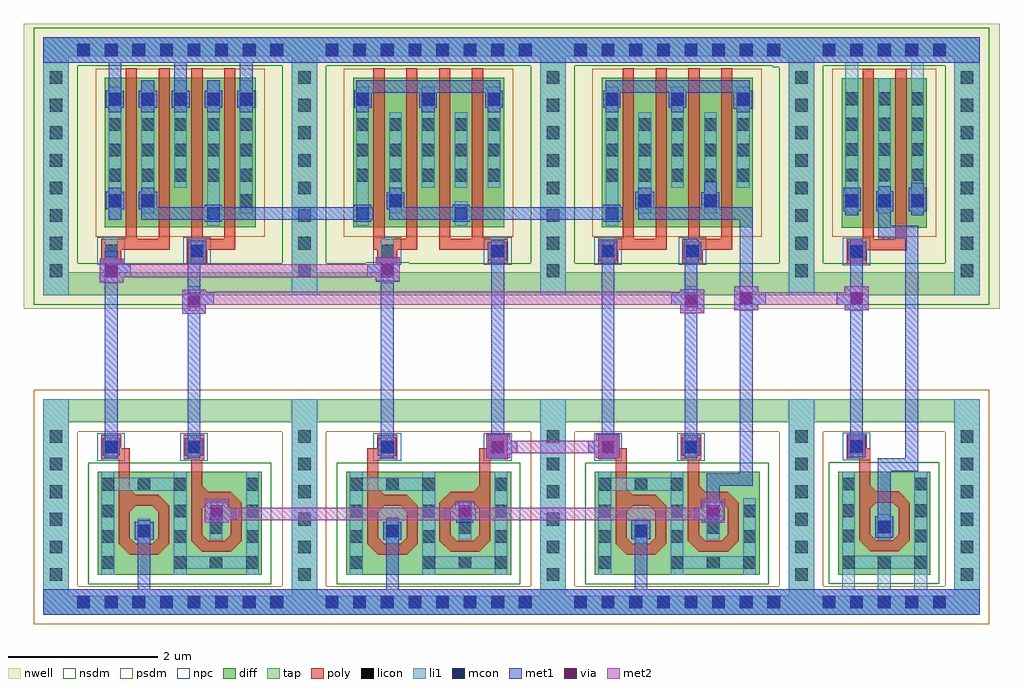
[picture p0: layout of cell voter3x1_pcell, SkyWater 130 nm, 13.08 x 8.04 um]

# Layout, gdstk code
from math import pi, radians
import gdstk
lib = gdstk.Library(unit=1e-6, precision=1e-09)
def R(c, l, rs):  # rectangles x0, y0, x1, y1
    for r in rs: c.add(gdstk.rectangle(r[:2], r[2:], *l))
def A(c, l, x, y, w, h, nx, ny, dx, dy):  # array of equal rectangles
    R(c, l, [(x+i*dx, y+j*dy, x+i*dx+w, y+j*dy+h) for i in range(nx) for j in range(ny)])
def P(c, l, *ps):  # polygons
    for p in ps: c.add(gdstk.Polygon(p, *l))
nwell = (64, 20)
diff = (65, 20)
tap = (65, 44)
poly = (66, 20)
licon = (66, 44)
li1 = (67, 20)
mcon = (67, 44)
met1 = (68, 20)
via = (68, 44)
met2 = (69, 20)
nsdm = (93, 44)
psdm = (94, 20)
npc = (95, 20)

diff_ring_side = lib.new_cell('diff_ring_side')
R(diff_ring_side, nwell, [(-0.435,3.93,0.435,7.75)])
R(diff_ring_side, tap, [(-0.17,-0.17,0.17,2.72), (-0.17,4.11,0.17,7.57)])
A(diff_ring_side, licon, -0.085, 0.285, 0.17, 0.17, 1, 6, 0, 0.37)
A(diff_ring_side, licon, -0.085, 4.355, 0.17, 0.17, 1, 8, 0, 0.37)
R(diff_ring_side, li1, [(-0.17,-0.17,0.17,2.72), (-0.17,4.11,0.17,7.57)])
R(diff_ring_side, met1, [(-0.17,-0.17,0.17,0.17), (-0.17,7.23,0.17,7.57)])
R(diff_ring_side, nsdm, [(-0.295,3.985,0.295,7.695)])
R(diff_ring_side, psdm, [(-0.295,-0.295,0.295,2.845)])

li1_m1_contact = lib.new_cell('li1_M1_contact')
R(li1_m1_contact, li1, [(-0.085,-0.165,0.085,0.165)])
R(li1_m1_contact, mcon, [(-0.085,-0.085,0.085,0.085)])
R(li1_m1_contact, met1, [(-0.115,-0.115,0.115,-0.085), (-0.265,-0.085,0.145,0.085), (-0.115,0.085,0.115,0.115)])

nmos_bottom = lib.new_cell('nmos_bottom')
R(nmos_bottom, diff, [(0,0,1.24,1.38)])
R(nmos_bottom, poly, [(0.43,0.27,0.81,0.42), (0.28,0.42,0.43,0.925), (0.81,0.42,0.96,0.925), (0.43,0.925,0.96,1.075), (0.81,1.075,0.96,1.51)])
P(nmos_bottom, poly, [(0.73,1.075),(0.81,1.075),(0.81,1.155)],
  [(0.28,0.925),(0.43,0.925),(0.43,1.075)],
  [(0.43,0.845),(0.43,0.925),(0.51,0.925)],
  [(0.73,0.925),(0.81,0.925),(0.81,0.845)],
  [(0.43,0.5),(0.43,0.42),(0.51,0.42)],
  [(0.73,0.42),(0.81,0.42),(0.81,0.5)],
  [(0.28,0.42),(0.43,0.42),(0.43,0.27)],
  [(0.81,0.27),(0.81,0.42),(0.96,0.42)])
A(nmos_bottom, licon, 0.05, 1.13, 0.17, 0.17, 3, 1, 0.485, 0)
R(nmos_bottom, licon, [(0.05,0.08,0.22,0.25), (1.02,0.08,1.19,0.25), (0.05,0.43,0.22,0.6), (1.02,0.43,1.19,0.6), (0.535,0.505,0.705,0.675), (0.05,0.77,0.22,0.94), (1.02,0.77,1.19,0.94)])
R(nmos_bottom, li1, [(0.05,0,0.22,1.13), (1.02,0,1.19,1.13), (0.535,0.425,0.705,0.755), (0.05,1.13,1.19,1.3), (0.05,1.3,0.22,1.38), (1.02,1.3,1.19,1.38)])
R(nmos_bottom, nsdm, [(-0.125,-0.125,1.365,1.505)])

pmos2_1 = lib.new_cell('pmos2_1')
R(pmos2_1, nwell, [(0.26,-2.175,1.76,0.185)])
R(pmos2_1, diff, [(0.44,-1.995,1.58,0.005)])
R(pmos2_1, poly, [(0.72,-2.3,1.31,-2.15), (0.72,-2.15,0.87,0.135), (1.16,-2.15,1.31,0.135)])
A(pmos2_1, licon, 0.49, -1.385, 0.17, 0.17, 3, 3, 0.44, 0.34)
A(pmos2_1, li1, 0.49, -1.465, 0.17, 1.01, 3, 1, 0.44, 0)
R(pmos2_1, psdm, [(0.315,-2.12,1.705,0.13)])

poly_li1_contact = lib.new_cell('poly_li1_contact')
R(poly_li1_contact, poly, [(-0.16,-0.14,0.17,0.13)])
R(poly_li1_contact, licon, [(-0.08,-0.09,0.09,0.08)])
R(poly_li1_contact, li1, [(-0.16,-0.09,0.17,0.08)])
R(poly_li1_contact, npc, [(-0.18,-0.19,0.19,0.18)])

nmos_top = lib.new_cell('nmos_top')
R(nmos_top, diff, [(0,0,1.23,1.38)])
R(nmos_top, poly, [(0.42,0.31,0.8,0.46), (0.27,0.46,0.42,0.965), (0.8,0.46,0.95,0.965), (0.42,0.965,0.95,1.115), (0.8,1.115,0.95,1.54)])
P(nmos_top, poly, [(0.72,1.115),(0.8,1.115),(0.8,1.195)],
  [(0.27,0.965),(0.42,0.965),(0.42,1.115)],
  [(0.42,0.885),(0.42,0.965),(0.5,0.965)],
  [(0.72,0.965),(0.8,0.965),(0.8,0.885)],
  [(0.42,0.54),(0.42,0.46),(0.5,0.46)],
  [(0.72,0.46),(0.8,0.46),(0.8,0.54)],
  [(0.27,0.46),(0.42,0.46),(0.42,0.31)],
  [(0.8,0.31),(0.8,0.46),(0.95,0.46)])
R(nmos_top, licon, [(0.04,0.08,0.21,0.25), (0.53,0.08,0.7,0.25), (1.01,0.08,1.18,0.25), (0.04,0.43,0.21,0.6), (1.01,0.43,1.18,0.6), (0.53,0.55,0.7,0.72), (0.04,0.77,0.21,0.94), (1.01,0.77,1.18,0.94), (0.04,1.13,0.21,1.3), (1.01,1.13,1.18,1.3)])
R(nmos_top, li1, [(0.04,0,0.21,0.08), (1.01,0,1.18,0.08), (0.04,0.08,1.18,0.25), (0.04,0.25,0.21,1.38), (1.01,0.25,1.18,1.38), (0.53,0.47,0.7,0.805)])
R(nmos_top, nsdm, [(-0.125,-0.125,1.355,1.505)])

nmos_top_trim1 = lib.new_cell('nmos_top_trim1')
R(nmos_top_trim1, diff, [(0,0,1.24,1.38)])
R(nmos_top_trim1, poly, [(0.43,0.31,0.81,0.46), (0.28,0.46,0.43,0.965), (0.81,0.46,0.96,0.965), (0.43,0.965,0.96,1.115), (0.81,1.115,0.96,1.545)])
P(nmos_top_trim1, poly, [(0.73,1.115),(0.81,1.115),(0.81,1.195)],
  [(0.28,0.965),(0.43,0.965),(0.43,1.115)],
  [(0.43,0.885),(0.43,0.965),(0.51,0.965)],
  [(0.73,0.965),(0.81,0.965),(0.81,0.885)],
  [(0.43,0.54),(0.43,0.46),(0.51,0.46)],
  [(0.73,0.46),(0.81,0.46),(0.81,0.54)],
  [(0.28,0.46),(0.43,0.46),(0.43,0.31)],
  [(0.81,0.31),(0.81,0.46),(0.96,0.46)])
A(nmos_top_trim1, licon, 0.05, 0.08, 0.17, 0.17, 3, 1, 0.485, 0)
R(nmos_top_trim1, licon, [(0.05,0.43,0.22,0.6), (1.02,0.43,1.19,0.6), (0.535,0.55,0.705,0.72), (0.05,0.77,0.22,0.94), (1.02,0.77,1.19,0.94), (1.02,1.13,1.19,1.3)])
R(nmos_top_trim1, li1, [(0.05,0,0.22,0.08), (1.02,0,1.19,0.08), (0.05,0.08,1.19,0.25), (0.05,0.25,0.22,1.02), (1.02,0.25,1.19,1.38), (0.535,0.47,0.705,0.805)])
R(nmos_top_trim1, nsdm, [(-0.125,-0.125,1.365,1.505)])

nmos_top_trim2 = lib.new_cell('nmos_top_trim2')
R(nmos_top_trim2, diff, [(0,0,1.24,1.38)])
R(nmos_top_trim2, poly, [(0.43,0.31,0.81,0.46), (0.28,0.46,0.43,0.89), (0.81,0.46,0.96,0.89), (0.28,0.89,0.435,0.965), (0.805,0.89,0.96,0.965), (0.43,0.965,0.96,1.115), (0.81,1.115,0.96,1.545)])
P(nmos_top_trim2, poly, [(0.73,1.115),(0.81,1.115),(0.81,1.195)],
  [(0.28,0.965),(0.43,0.965),(0.43,1.115)],
  [(0.435,0.89),(0.435,0.965),(0.51,0.965)],
  [(0.73,0.965),(0.805,0.965),(0.805,0.89)],
  [(0.43,0.54),(0.43,0.46),(0.51,0.46)],
  [(0.73,0.46),(0.81,0.46),(0.81,0.54)],
  [(0.28,0.46),(0.43,0.46),(0.43,0.31)],
  [(0.81,0.31),(0.81,0.46),(0.96,0.46)])
A(nmos_top_trim2, licon, 0.05, 0.08, 0.17, 0.17, 3, 1, 0.485, 0)
R(nmos_top_trim2, licon, [(0.05,0.43,0.22,0.6), (1.02,0.43,1.19,0.6), (0.535,0.55,0.705,0.72), (0.05,0.77,0.22,0.94), (1.02,0.77,1.19,0.94)])
R(nmos_top_trim2, li1, [(0.05,0,0.22,0.08), (1.02,0,1.19,0.08), (0.05,0.08,1.19,0.25), (0.05,0.25,0.22,1.025), (1.02,0.25,1.19,1.025), (0.535,0.47,0.705,0.805)])
R(nmos_top_trim2, nsdm, [(-0.125,-0.125,1.365,1.505)])

votern3x1_pcell = lib.new_cell('votern3x1_pcell')
A(votern3x1_pcell, nwell, 0.435, 7.645, 2.46, 0.105, 3, 1, 3.33, 0)
R(votern3x1_pcell, nwell, [(0.42,3.93,2.91,7.23), (3.75,3.93,6.24,7.28), (7.08,3.93,9.57,7.275), (0.17,7.23,2.91,7.28), (7.08,7.275,9.56,7.315), (0.17,7.28,2.9,7.515), (3.75,7.28,6.23,7.3), (3.76,7.3,6.23,7.52), (7.09,7.315,9.56,7.51), (7.09,7.51,9.57,7.525), (0.17,7.515,2.91,7.54), (3.75,7.52,6.24,7.645), (7.08,7.525,9.57,7.645), (0.42,7.54,2.91,7.645)])
A(votern3x1_pcell, diff, 0.705, 6.655, 0.17, 0.17, 5, 1, 0.44, 0)
A(votern3x1_pcell, diff, 4.025, 6.655, 0.17, 0.17, 3, 1, 0.88, 0)
A(votern3x1_pcell, diff, 7.365, 6.655, 0.17, 0.17, 3, 1, 0.88, 0)
R(votern3x1_pcell, diff, [(0.705,5.295,0.875,5.465), (1.145,5.295,1.315,5.465), (2.465,5.295,2.635,5.465), (4.465,5.295,4.635,5.465), (7.805,5.295,7.975,5.465), (8.685,5.295,8.855,5.465)])
A(votern3x1_pcell, tap, 0.17, -0.17, 2.99, 0.255, 3, 2, 3.33, 7.485)
A(votern3x1_pcell, tap, 0.17, 2.41, 2.99, 0.31, 3, 1, 3.33, 0)
R(votern3x1_pcell, tap, [(0.17,4.11,3.175,4.42), (3.485,4.11,6.505,4.42), (6.815,4.11,9.82,4.42), (4.285,4.42,4.605,4.43), (9.73,7.295,9.82,7.315)])
A(votern3x1_pcell, poly, 0.84, 1.875, 0.15, 0.19, 3, 1, 3.33, 0)
R(votern3x1_pcell, poly, [(1.81,1.905,1.96,1.915), (5.67,1.91,5.82,2.065), (8.47,1.91,8.62,1.915), (0.875,4.72,0.935,4.87), (5.725,4.72,5.785,4.87), (7.535,4.72,7.595,4.87)])
A(votern3x1_pcell, licon, 0.285, -0.085, 0.17, 0.17, 8, 2, 0.37, 7.4)
A(votern3x1_pcell, licon, 3.615, -0.085, 0.17, 0.17, 8, 2, 0.37, 7.4)
A(votern3x1_pcell, licon, 6.945, -0.085, 0.17, 0.17, 8, 2, 0.37, 7.4)
A(votern3x1_pcell, licon, 0.705, 6.655, 0.17, 0.17, 5, 1, 0.44, 0)
A(votern3x1_pcell, licon, 4.025, 6.655, 0.17, 0.17, 3, 1, 0.88, 0)
A(votern3x1_pcell, licon, 7.365, 6.655, 0.17, 0.17, 3, 1, 0.88, 0)
R(votern3x1_pcell, licon, [(0.705,5.295,0.875,5.465), (1.145,5.295,1.315,5.465), (2.465,5.295,2.635,5.465), (4.465,5.295,4.635,5.465), (7.805,5.295,7.975,5.465), (8.685,5.295,8.855,5.465)])
A(votern3x1_pcell, li1, 1.095, 0.87, 0.17, 0.17, 3, 1, 3.33, 0)
A(votern3x1_pcell, li1, 4.025, 6.485, 0.17, 0.42, 3, 1, 0.88, 0)
A(votern3x1_pcell, li1, 1.145, 6.555, 0.17, 0.44, 4, 1, 0.44, 0)
R(votern3x1_pcell, li1, [(0.165,-0.17,9.935,0.17), (0.655,1.995,0.825,2.165), (1.765,1.995,1.935,2.165), (4.355,1.995,4.525,2.165), (8.425,1.995,8.595,2.165), (1.805,4.62,1.975,4.79), (5.835,4.62,6.005,4.79), (7.315,4.62,7.485,4.79), (8.445,4.62,8.615,4.79), (0.705,5.125,0.875,5.615), (1.145,5.215,1.315,5.61), (2.465,5.215,2.635,5.7), (4.465,5.215,4.635,5.64), (7.805,5.215,7.975,5.59), (8.685,5.215,8.855,5.61), (2.025,5.36,2.195,5.595), (4.025,5.37,4.195,5.635), (7.365,5.37,7.535,5.575), (8.245,6.515,8.415,6.905), (9.125,6.53,9.295,6.905), (0.705,6.56,0.875,6.905), (7.365,6.56,7.535,6.905), (0.17,7.23,9.83,7.57)])
A(votern3x1_pcell, mcon, 0.285, -0.085, 0.17, 0.17, 8, 2, 0.37, 7.4)
A(votern3x1_pcell, mcon, 3.615, -0.085, 0.17, 0.17, 8, 2, 0.37, 7.4)
A(votern3x1_pcell, mcon, 6.945, -0.085, 0.17, 0.17, 8, 2, 0.37, 7.4)
A(votern3x1_pcell, mcon, 1.095, 0.87, 0.17, 0.17, 3, 1, 3.33, 0)
A(votern3x1_pcell, mcon, 0.705, 6.655, 0.17, 0.17, 5, 1, 0.44, 0)
A(votern3x1_pcell, mcon, 4.025, 6.655, 0.17, 0.17, 3, 1, 0.88, 0)
A(votern3x1_pcell, mcon, 7.365, 6.655, 0.17, 0.17, 3, 1, 0.88, 0)
R(votern3x1_pcell, mcon, [(0.655,1.995,0.825,2.165), (1.765,1.995,1.935,2.165), (4.355,1.995,4.525,2.165), (8.425,1.995,8.595,2.165), (1.805,4.62,1.975,4.79), (5.835,4.62,6.005,4.79), (7.315,4.62,7.485,4.79), (8.445,4.62,8.615,4.79), (0.705,5.295,0.875,5.465), (1.145,5.295,1.315,5.465), (4.465,5.295,4.635,5.465), (7.805,5.295,7.975,5.465), (8.685,5.295,8.855,5.465)])
A(votern3x1_pcell, met1, 0.17, -0.17, 2.99, 0.34, 3, 2, 3.33, 7.4)
A(votern3x1_pcell, met1, 0.705, 6.565, 0.17, 0.06, 5, 1, 0.44, 0)
A(votern3x1_pcell, met1, 4.025, 6.565, 0.17, 0.06, 3, 1, 0.88, 0)
A(votern3x1_pcell, met1, 0.705, 6.855, 0.17, 0.375, 3, 1, 0.88, 0)
R(votern3x1_pcell, met1, [(1.095,0.17,1.265,0.835), (4.425,0.17,4.595,0.835), (7.755,0.17,7.925,0.84), (1.055,0.835,1.31,1.08), (4.385,0.835,4.63,1.075), (7.71,0.84,7.965,1.095), (1.995,1.065,2.315,1.385), (4.425,1.075,4.595,1.13), (1.095,1.08,1.265,1.1), (5.35,1.095,5.61,1.355), (7.755,1.095,7.925,1.1), (8.645,1.095,8.935,1.265), (8.675,1.265,8.935,1.355), (8.725,1.355,8.895,1.56), (8.725,1.56,9.335,1.73), (9.165,1.73,9.335,5.125), (5.765,1.93,6.085,2.25), (7.235,1.93,7.555,2.25), (0.655,1.935,0.825,1.965), (1.765,1.935,1.935,1.965), (4.355,1.935,4.525,1.965), (8.425,1.935,8.595,1.96), (8.395,1.96,8.625,2.2), (0.625,1.965,0.855,2.195), (1.735,1.965,1.965,2.195), (4.315,1.965,4.56,2.205), (0.655,2.195,0.825,4.28), (1.765,2.195,1.935,3.865), (8.425,2.2,8.595,3.87), (4.355,2.205,4.525,4.295), (5.835,2.25,6.005,4.58), (7.315,2.25,7.485,4.575), (1.69,3.865,2.01,4.185), (8.365,3.87,8.685,4.19), (1.765,4.185,1.935,4.53), (8.425,4.19,8.595,4.56), (0.585,4.28,0.905,4.6), (4.285,4.295,4.605,4.615), (1.765,4.53,2.015,4.84), (8.425,4.56,8.615,4.59), (7.27,4.575,7.525,4.84), (5.79,4.58,6.05,4.825), (8.415,4.59,8.645,4.82), (0.655,4.6,0.825,4.71), (8.425,4.82,8.615,4.85), (5.835,4.825,6.005,4.85), (1.805,4.84,1.975,4.85), (7.315,4.84,7.485,4.85), (8.425,4.85,8.595,4.87), (4.025,5.115,4.195,5.27), (0.705,5.125,0.875,5.265), (1.145,5.125,2.025,5.265), (2.375,5.125,3.995,5.295), (4.465,5.125,5.515,5.265), (5.675,5.125,7.33,5.295), (7.365,5.125,7.535,5.19), (7.805,5.125,9.335,5.265), (0.67,5.265,0.915,5.5), (1.11,5.265,2.025,5.295), (4.435,5.265,5.515,5.295), (7.765,5.265,9.335,5.295), (1.11,5.295,1.355,5.5), (4.435,5.295,4.665,5.495), (7.765,5.295,8.015,5.5), (8.645,5.295,8.89,5.495), (4.465,5.495,4.635,5.555), (8.685,5.495,8.855,5.635), (0.705,5.5,0.875,5.555), (1.145,5.5,1.315,5.555), (7.805,5.5,7.975,5.555), (7.365,6.565,7.535,6.625), (8.245,6.565,8.415,6.625), (9.125,6.565,9.295,6.615), (9.08,6.615,9.33,6.825), (0.665,6.625,0.91,6.855), (1.11,6.625,1.355,6.855), (1.555,6.625,1.795,6.855), (1.995,6.625,2.23,6.855), (2.43,6.625,2.67,6.855), (3.995,6.625,4.23,6.825), (4.87,6.625,5.105,6.825), (5.755,6.625,5.99,6.825), (7.335,6.625,7.565,6.825), (8.215,6.625,8.445,6.825), (3.995,6.825,5.99,6.855), (7.335,6.825,9.33,6.855), (1.145,6.855,1.315,6.995), (2.025,6.855,2.195,6.995), (3.995,6.855,5.955,6.86), (7.365,6.855,9.295,6.995), (4.025,6.86,5.955,6.995)])
A(votern3x1_pcell, via, 2.08, 1.15, 0.15, 0.15, 3, 1, 3.325, 0)
R(votern3x1_pcell, via, [(5.85,2.015,6,2.165), (7.32,2.015,7.47,2.165), (1.775,3.95,1.925,4.1), (8.45,3.955,8.6,4.105), (0.67,4.365,0.82,4.515), (4.37,4.385,4.52,4.535)])
R(votern3x1_pcell, met2, [(1.995,1.065,2.315,1.095), (8.645,1.065,8.965,1.095), (1.995,1.095,8.965,1.265), (1.995,1.265,2.315,1.385), (5.35,1.265,5.61,1.355), (8.645,1.265,8.965,1.385), (5.765,1.93,6.085,1.995), (7.235,1.93,7.555,1.995), (5.765,1.995,7.555,2.165), (5.765,2.165,6.085,2.25), (7.235,2.165,7.555,2.25), (1.69,3.865,2.01,3.985), (8.365,3.87,8.685,3.985), (1.69,3.985,8.685,4.16), (1.69,4.16,2.01,4.185), (8.365,4.16,8.685,4.19), (0.585,4.28,0.905,4.355), (4.285,4.3,4.605,4.355), (0.585,4.355,4.605,4.525), (0.585,4.525,0.905,4.6), (4.285,4.525,4.605,4.62)])
R(votern3x1_pcell, nsdm, [(0.045,3.985,9.945,4.545), (4.16,4.545,4.73,4.555), (9.605,7.17,9.945,7.19), (0.045,7.19,9.945,7.695)])
A(votern3x1_pcell, psdm, 3.9, 6.53, 0.42, 0.42, 3, 1, 0.88, 0)
A(votern3x1_pcell, psdm, 7.24, 6.53, 0.42, 0.42, 3, 1, 0.88, 0)
R(votern3x1_pcell, psdm, [(0.045,-0.295,9.945,0.21), (0.045,2.285,9.945,2.845), (0.58,5.17,1.44,5.59), (2.34,5.17,2.76,5.59), (4.34,5.17,4.76,5.59), (7.68,5.17,8.1,5.59), (8.56,5.17,8.98,5.59), (0.58,6.53,2.76,6.95)])
votern3x1_pcell.add(gdstk.Reference(diff_ring_side, (0,0)))
votern3x1_pcell.add(gdstk.Reference(li1_m1_contact, (0.74,4.44), rotation=pi, x_reflection=True))
votern3x1_pcell.add(gdstk.Reference(nmos_bottom, (1.8,0.365), rotation=pi, x_reflection=True))
votern3x1_pcell.add(gdstk.Reference(pmos2_1, (0.215,7.02)))
votern3x1_pcell.add(gdstk.Reference(poly_li1_contact, (0.745,4.71), rotation=3*pi/2))
votern3x1_pcell.add(gdstk.Reference(poly_li1_contact, (0.745,2.085), rotation=3*pi/2))
votern3x1_pcell.add(gdstk.Reference(li1_m1_contact, (2.15,1.18), rotation=pi, x_reflection=True))
votern3x1_pcell.add(gdstk.Reference(li1_m1_contact, (2.11,5.21), rotation=pi, x_reflection=True))
votern3x1_pcell.add(gdstk.Reference(li1_m1_contact, (1.85,4.07), rotation=pi, x_reflection=True))
votern3x1_pcell.add(gdstk.Reference(nmos_top, (2.76,0.365), rotation=pi, x_reflection=True))
votern3x1_pcell.add(gdstk.Reference(pmos2_1, (1.095,7.02)))
votern3x1_pcell.add(gdstk.Reference(poly_li1_contact, (1.845,2.075), rotation=pi/2))
votern3x1_pcell.add(gdstk.Reference(poly_li1_contact, (1.895,4.71), rotation=3*pi/2))
votern3x1_pcell.add(gdstk.Reference(diff_ring_side, (3.33,0)))
votern3x1_pcell.add(gdstk.Reference(li1_m1_contact, (4.11,5.21), x_reflection=True))
votern3x1_pcell.add(gdstk.Reference(nmos_bottom, (5.13,0.365), rotation=pi, x_reflection=True))
votern3x1_pcell.add(gdstk.Reference(pmos2_1, (5.565,7.02), rotation=pi, x_reflection=True))
votern3x1_pcell.add(gdstk.Reference(li1_m1_contact, (5.48,1.18)))
votern3x1_pcell.add(gdstk.Reference(li1_m1_contact, (5.43,5.21), rotation=pi))
votern3x1_pcell.add(gdstk.Reference(li1_m1_contact, (4.44,4.44)))
votern3x1_pcell.add(gdstk.Reference(nmos_top_trim1, (4.86,0.365)))
votern3x1_pcell.add(gdstk.Reference(pmos2_1, (6.445,7.02), rotation=pi, x_reflection=True))
votern3x1_pcell.add(gdstk.Reference(poly_li1_contact, (4.435,2.085), rotation=3*pi/2, x_reflection=True))
votern3x1_pcell.add(gdstk.Reference(poly_li1_contact, (4.435,4.71), rotation=3*pi/2, x_reflection=True))
votern3x1_pcell.add(gdstk.Reference(diff_ring_side, (6.66,0)))
votern3x1_pcell.add(gdstk.Reference(li1_m1_contact, (5.92,2.08), rotation=pi, x_reflection=True))
votern3x1_pcell.add(gdstk.Reference(poly_li1_contact, (5.915,2.085), rotation=3*pi/2, x_reflection=True))
votern3x1_pcell.add(gdstk.Reference(poly_li1_contact, (5.915,4.71), rotation=3*pi/2, x_reflection=True))
votern3x1_pcell.add(gdstk.Reference(poly_li1_contact, (8.505,2.085), rotation=3*pi/2, x_reflection=True))
votern3x1_pcell.add(gdstk.Reference(poly_li1_contact, (7.395,2.085), rotation=3*pi/2, x_reflection=True))
votern3x1_pcell.add(gdstk.Reference(nmos_top_trim2, (9.43,0.365), rotation=pi, x_reflection=True))
votern3x1_pcell.add(gdstk.Reference(nmos_bottom, (8.46,0.365), rotation=pi, x_reflection=True))
votern3x1_pcell.add(gdstk.Reference(li1_m1_contact, (7.4,2.08)))
votern3x1_pcell.add(gdstk.Reference(li1_m1_contact, (8.81,1.18)))
votern3x1_pcell.add(gdstk.Reference(poly_li1_contact, (8.535,4.71), rotation=3*pi/2))
votern3x1_pcell.add(gdstk.Reference(poly_li1_contact, (7.405,4.71), rotation=3*pi/2))
votern3x1_pcell.add(gdstk.Reference(pmos2_1, (7.755,7.02)))
votern3x1_pcell.add(gdstk.Reference(pmos2_1, (6.875,7.02)))
votern3x1_pcell.add(gdstk.Reference(li1_m1_contact, (8.51,4.07)))
votern3x1_pcell.add(gdstk.Reference(li1_m1_contact, (7.45,5.21)))
votern3x1_pcell.add(gdstk.Reference(diff_ring_side, (9.99,0)))

pmos2 = lib.new_cell('pmos2')
R(pmos2, nwell, [(0.26,-2.18,1.76,0.18)])
R(pmos2, diff, [(0.44,-2,1.58,0)])
R(pmos2, poly, [(0.72,-2.305,1.31,-2.155), (0.72,-2.155,0.87,0.13), (1.16,-2.155,1.31,0.13)])
A(pmos2, licon, 0.49, -1.38, 0.17, 0.17, 3, 4, 0.44, 0.34)
R(pmos2, li1, [(0.49,-1.465,0.66,0.21), (0.93,-1.465,1.1,0), (1.37,-1.465,1.54,0.21)])
R(pmos2, psdm, [(0.315,-2.125,1.705,0.125)])

invx1_pcell = lib.new_cell('invx1_pcell')
R(invx1_pcell, nwell, [(-0.435,3.93,2.655,7.75)])
A(invx1_pcell, diff, 0.59, 5.295, 0.17, 0.17, 3, 1, 0.44, 0)
R(invx1_pcell, tap, [(0.17,-0.17,2.05,0.085), (0.17,2.41,2.05,2.72), (0.17,4.11,2.05,4.42), (0.17,7.315,2.05,7.57)])
R(invx1_pcell, poly, [(0.775,1.905,0.925,2.065)])
A(invx1_pcell, licon, 0.285, -0.085, 0.17, 0.17, 5, 2, 0.37, 7.4)
A(invx1_pcell, licon, 0.59, 5.295, 0.17, 0.17, 3, 1, 0.44, 0)
A(invx1_pcell, li1, 0.59, 5.215, 0.17, 0.37, 3, 1, 0.44, 0)
R(invx1_pcell, li1, [(-0.17,-0.17,2.33,0.17), (0.545,0.17,0.715,0.42), (1.025,0.17,1.195,0.45), (1.515,0.17,1.685,0.45), (1.025,0.92,1.195,1.09), (0.655,2,0.825,2.17), (0.655,4.615,0.825,4.785), (-0.17,7.23,2.39,7.57)])
A(invx1_pcell, mcon, 0.285, -0.085, 0.17, 0.17, 5, 2, 0.37, 7.4)
A(invx1_pcell, mcon, 0.59, 5.295, 0.17, 0.17, 3, 1, 0.44, 0)
R(invx1_pcell, mcon, [(1.025,0.92,1.195,1.09), (0.655,2,0.825,2.17), (0.655,4.615,0.825,4.785)])
R(invx1_pcell, met1, [(-0.17,-0.17,2.39,0.17), (0.99,0.86,1.23,1.15), (1.025,1.15,1.195,1.755), (1.025,1.755,1.565,1.925), (1.395,1.925,1.565,4.875), (0.615,1.94,0.865,2.25), (0.655,2.25,0.825,4.58), (0.62,4.58,0.87,4.83), (0.655,4.83,0.825,4.865), (1.03,4.875,1.565,5.045), (1.03,5.045,1.2,5.24), (0.59,5.185,0.76,5.24), (1.47,5.185,1.64,5.24), (0.56,5.24,0.795,5.555), (1,5.24,1.23,5.505), (1.44,5.24,1.675,5.555), (1.03,5.505,1.2,5.575), (1.47,5.555,1.64,5.62), (-0.17,7.23,2.39,7.57)])
R(invx1_pcell, nsdm, [(0.045,3.985,2.175,4.545), (0.045,7.19,2.175,7.695)])
R(invx1_pcell, psdm, [(0.045,-0.295,2.175,0.21), (0.045,2.285,2.175,2.845), (0.465,5.17,1.765,5.59)])
invx1_pcell.add(gdstk.Reference(poly_li1_contact, (0.735,2.08), rotation=pi/2))
invx1_pcell.add(gdstk.Reference(poly_li1_contact, (0.745,4.705), rotation=3*pi/2))
invx1_pcell.add(gdstk.Reference(pmos2, (0.1,7.02)))
invx1_pcell.add(gdstk.Reference(nmos_top, (1.725,0.37), rotation=pi, x_reflection=True))
invx1_pcell.add(gdstk.Reference(diff_ring_side, (0,0)))
invx1_pcell.add(gdstk.Reference(diff_ring_side, (2.22,0)))

voter3x1_pcell = lib.new_cell('voter3x1_pcell')
R(voter3x1_pcell, met1, [(9.09,3.915,9.41,4.235), (10.57,3.915,10.89,4.235)])
R(voter3x1_pcell, via, [(9.175,4,9.325,4.15), (10.655,4,10.805,4.15)])
R(voter3x1_pcell, met2, [(9.09,3.915,9.41,3.985), (10.57,3.915,10.89,3.985), (9.09,3.985,10.89,4.155), (9.09,4.155,9.41,4.235), (10.57,4.155,10.89,4.235)])
voter3x1_pcell.add(gdstk.Reference(votern3x1_pcell, (0,0)))
voter3x1_pcell.add(gdstk.Reference(li1_m1_contact, (9.25,4.07), rotation=pi))
voter3x1_pcell.add(gdstk.Reference(li1_m1_contact, (10.73,4.07)))
voter3x1_pcell.add(gdstk.Reference(invx1_pcell, (9.99,0)))

lib.write_gds('voter3x1_pcell.gds')
